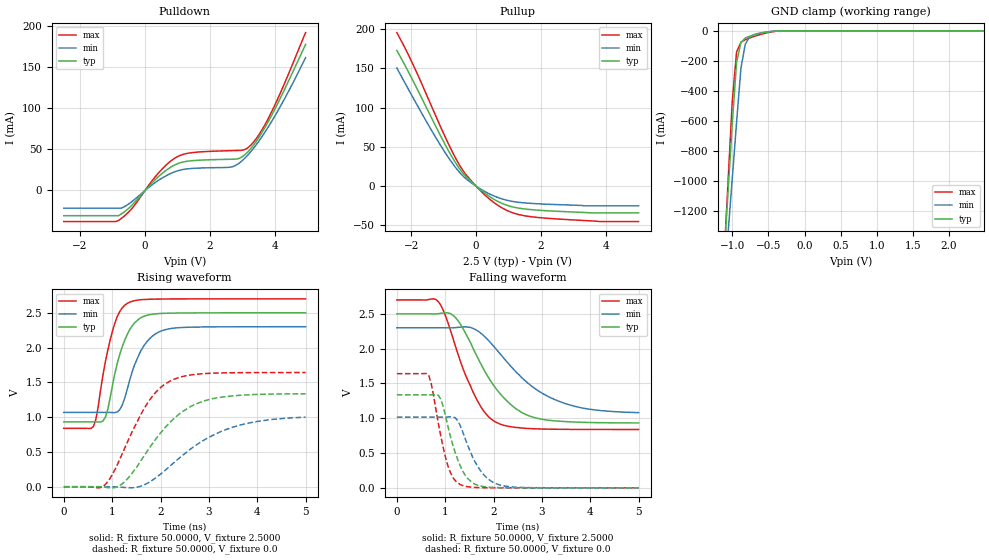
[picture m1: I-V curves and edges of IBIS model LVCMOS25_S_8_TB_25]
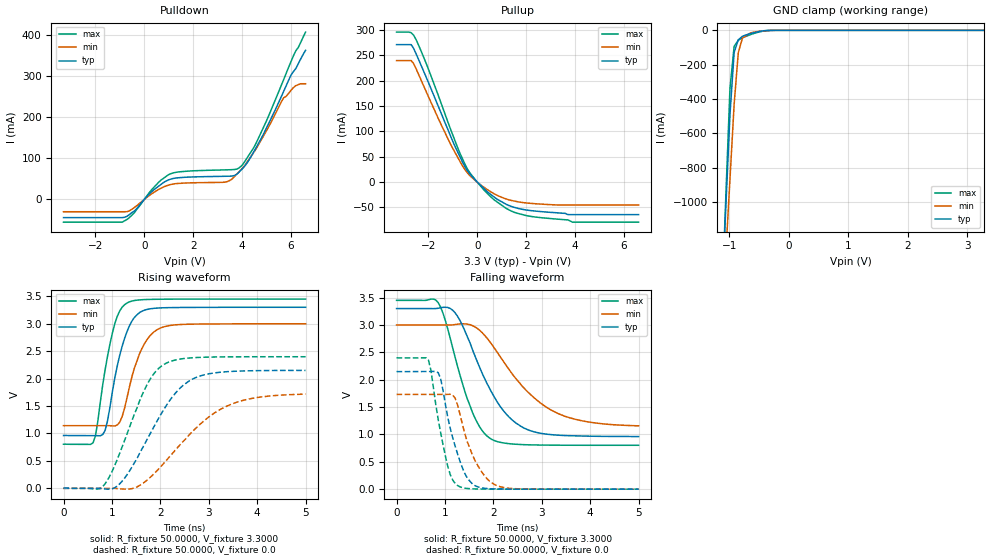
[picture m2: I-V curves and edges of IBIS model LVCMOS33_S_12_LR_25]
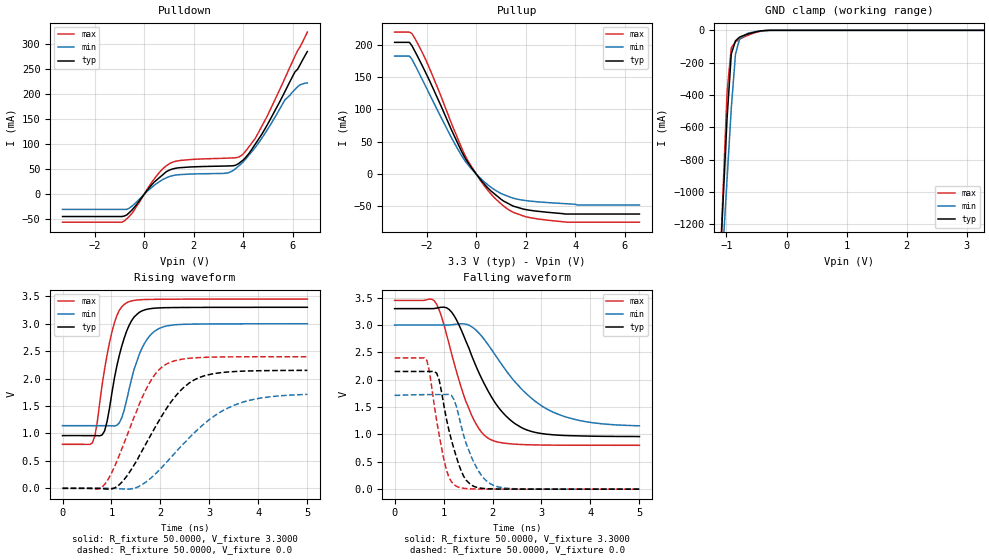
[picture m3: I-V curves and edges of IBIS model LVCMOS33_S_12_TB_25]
| / 7\'7
| \ \   Xilinx Inc.
| / /
| \_\/.\   IBIS Models for SPARTAN-6
[IBIS ver]   4.2
[File name]   runled.ibs
[File Rev]   1.3
[Date]   Tue February 21 22:32:20 2017
[Source]   Derived from spice models, rev0.21, using
   hspice 2007.12
[Notes]   Xilinx IBIS file for SPARTAN-6 I/O standards.
   All models are preliminary.
   The version of IBISCHK used is ibischk4.
   Ibis models were generated using S2IBIS3.
[Disclaimer] The data in this file is derived from SPICE simulations using
                 modeling information extracted from the target process. While
                 a great deal of care has been taken to provide information
                 that is accurate, this model is considered preliminary as it
                 has not been verified by actual silicon measurement. Treat the
                 data in this model as preliminary until actual silicon
                 verification is performed.
[Copyright]   Copyright 2009, 2010, Xilinx Inc., All rights reserved
|   Component SPARTAN-6
[Component]   SPARTAN-6
[Manufacturer]   Xilinx Inc.
[Package]
|WARNING:PostProcessors - IBIS [Package] Section data is not currently
|available for tqg144. Please use XilinxUpdate utility to check
|availability of updated models. Using default package data:
|DEFAULT
|variable   typ   min   max
R_pkg   300.00m   300.00m   300.00m
L_pkg   4.00nH   4.00nH   4.00nH
C_pkg   2.00pF   2.00pF   2.00pF
[Pin]  signal_name   model_name
P98   ledcir<3>   LVCMOS33_S_12_LR_25
P101   ledcir<4>   LVCMOS33_S_12_LR_25
P100   ledcir<5>   LVCMOS33_S_12_LR_25
P1   leds<0>   LVCMOS33_S_12_LR_25
P82   digseg<0>   LVCMOS33_S_12_LR_25
P2   leds<1>   LVCMOS33_S_12_LR_25
P80   digseg<1>   LVCMOS33_S_12_LR_25
P5   leds<2>   LVCMOS33_S_12_LR_25
P66   digseg<2>   LVCMOS33_S_12_TB_25
P6   leds<3>   LVCMOS33_S_12_LR_25
P61   digseg<3>   LVCMOS33_S_12_TB_25
P7   leds<4>   LVCMOS33_S_12_LR_25
P58   digseg<4>   LVCMOS33_S_12_TB_25
P8   leds<5>   LVCMOS33_S_12_LR_25
P56   digseg<5>   LVCMOS33_S_12_TB_25
P9   leds<6>   LVCMOS33_S_12_LR_25
P51   digseg<6>   LVCMOS33_S_12_TB_25
P10   leds<7>   LVCMOS33_S_12_LR_25
P48   digseg<7>   LVCMOS33_S_12_TB_25
P94   encodAsw   LVCMOS33_S_12_LR_25
P84   nreset   LVCMOS33_S_12_LR_25
P93   encodBsw   LVCMOS33_S_12_LR_25
P81   digit<0>   LVCMOS33_S_12_LR_25
P67   digit<1>   LVCMOS33_S_12_TB_25
P62   digit<2>   LVCMOS33_S_12_TB_25
P40   digit<10>   LVCMOS33_S_12_TB_25
P59   digit<3>   LVCMOS33_S_12_TB_25
P34   digit<11>   LVCMOS33_S_12_LR_25
P57   digit<4>   LVCMOS33_S_12_TB_25
P32   digit<12>   LVCMOS33_S_12_LR_25
P55   digit<5>   LVCMOS33_S_12_TB_25
P29   digit<13>   LVCMOS33_S_12_LR_25
P87   encoda<0>   LVCMOS33_S_12_LR_25
P50   digit<6>   LVCMOS33_S_12_TB_25
P26   digit<14>   LVCMOS33_S_12_LR_25
P92   encoda<1>   LVCMOS33_S_12_LR_25
P47   digit<7>   LVCMOS33_S_12_TB_25
P23   digit<15>   LVCMOS33_S_12_LR_25
P45   digit<8>   LVCMOS33_S_12_TB_25
P21   digit<16>   LVCMOS33_S_12_LR_25
P43   digit<9>   LVCMOS33_S_12_TB_25
P16   digit<17>   LVCMOS33_S_12_LR_25
P83   encodb<0>   LVCMOS33_S_12_LR_25
P14   digit<18>   LVCMOS33_S_12_LR_25
P88   encodb<1>   LVCMOS33_S_12_LR_25
P11   digit<19>   LVCMOS33_S_12_LR_25
P97   ledcir<0>   LVCMOS33_S_12_LR_25
P95   ledcir<1>   LVCMOS33_S_12_LR_25
P99   ledcir<2>   LVCMOS33_S_12_LR_25
P85   clk   LVCMOS33_S_12_LR_25
P144   HSWAPEN   LVCMOS25_S_8_TB_25
P143   IO_L1N_VREF_0   NC
P142   IO_L2P_0   NC
P141   IO_L2N_0   NC
P140   IO_L3P_0   NC
P139   IO_L3N_0   NC
P138   IO_L4P_0   NC
P137   IO_L4N_0   NC
P134   GCLK19   NC
P133   GCLK18   NC
P132   GCLK17   NC
P131   GCLK16   NC
P127   GCLK15   NC
P126   GCLK14   NC
P124   GCLK13   NC
P123   GCLK12   NC
P121   IO_L62P_0   NC
P120   IO_L62N_VREF_0   NC
P119   SCP7   LVCMOS25_S_8_TB_25
P118   SCP6   LVCMOS25_S_8_TB_25
P117   SCP5   LVCMOS25_S_8_TB_25
P116   SCP4   LVCMOS25_S_8_TB_25
P115   SCP3   LVCMOS25_S_8_TB_25
P114   SCP2   LVCMOS25_S_8_TB_25
P112   SCP1   LVCMOS25_S_8_TB_25
P111   SCP0   LVCMOS25_S_8_TB_25
P105   IO_L1P_1   NC
P104   IO_L1N_VREF_1   NC
P102   IO_L32P_1   NC
P79   IO_L47P_1   NC
P78   IO_L47N_1   NC
P75   AWAKE   LVCMOS25_S_8_TB_25
P74   DOUT_BUSY   LVCMOS25_S_8_TB_25
P70   CCLK   LVCMOS25_S_8_TB_25
P69   M0_CMPMISO   NC
P65   D0_DIN_MISO_MISO1   LVCMOS25_S_8_TB_25
P64   MOSI_CSI_B_MISO0   LVCMOS25_S_8_TB_25
P60   M1   LVCMOS25_S_8_TB_25
P46   D3   LVCMOS25_S_8_TB_25
P44   D5   LVCMOS25_S_8_TB_25
P41   D8   LVCMOS25_S_8_TB_25
P39   INIT_B   LVCMOS25_S_8_TB_25
P38   CSO_B   LVCMOS25_S_8_TB_25
P35   IO_L1P_3   NC
P33   IO_L2P_3   NC
P30   IO_L36P_3   NC
P27   IO_L37P_3   NC
P24   GCLK27   NC
P22   GCLK25_TRDY2   NC
P17   GCLK23   NC
P15   GCLK21   NC
P12   IO_L49P_3   NC
P109   TCK   LVCMOS25_S_8_TB_25
P110   TDI   LVCMOS25_S_8_TB_25
P107   TMS   LVCMOS25_S_8_TB_25
P106   TDO   LVCMOS25_S_8_TB_25
P73   SUSPEND   LVCMOS25_S_8_TB_25
P72   CMPCS_B_2   NC
P71   DONE_2   LVCMOS25_S_8_TB_25
P37   PROGRAM_B_2   LVCMOS25_S_8_TB_25
P108   GND   GND
P113   GND   GND
P13   GND   GND
P130   GND   GND
P136   GND   GND
P25   GND   GND
P3   GND   GND
P49   GND   GND
P54   GND   GND
P68   GND   GND
P77   GND   GND
P91   GND   GND
P96   GND   GND
P122   VCCO_0   POWER
P125   VCCO_0   POWER
P135   VCCO_0   POWER
P129   VCCAUX   POWER
P20   VCCAUX   POWER
P36   VCCAUX   POWER
P53   VCCAUX   POWER
P90   VCCAUX   POWER
P128   VCCINT   POWER
P19   VCCINT   POWER
P28   VCCINT   POWER
P52   VCCINT   POWER
P89   VCCINT   POWER
P103   VCCO_1   POWER
P76   VCCO_1   POWER
P86   VCCO_1   POWER
P42   VCCO_2   POWER
P63   VCCO_2   POWER
P18   VCCO_3   POWER
P31   VCCO_3   POWER
P4   VCCO_3   POWER
[Diff Pin]   inv_Pin   vdiff   tdelay_typ   tdelay_min   tdelay_max
[Series Pin Mapping] pin_2   model_name   function_table_group
| Models and submodels in the file (3): LVCMOS25_S_8_TB_25 (I/O), LVCMOS33_S_12_LR_25 (I/O), LVCMOS33_S_12_TB_25 (I/O)
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|   Model LVCMOS25_S_8_TB_25
[Model]  LVCMOS25_S_8_TB_25
Model_type I/O
Polarity   Non-Inverting
Enable   Active-Low
Vinl =   0.7000V
Vinh =   1.7000V
Vmeas =  1.2500V
Cref =   0.0F
Rref =   1.0000M
Vref =   0.0V
C_comp   5.71pF   5.63pF   6.21pF
|C_comp   6.33pF   6.15pF   6.69pF
[Temperature Range]   25.0000   85.0000   0.0
[Voltage Range]   2.5000V   2.3000V   2.7000V
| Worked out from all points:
|   slope of the pulldown table from 0 to 0.375 V, typ, clamps not added: 24.2 ohm
|   slope of the pullup table from 0 to 0.375 V, typ, clamps not added: 30.7 ohm
|   GND clamp passes 1 mA (typ) near -0.36 V on its own axis
|   rising waveform, R_fixture 50.0000, V_fixture 2.5000: 20-80 % time 362ps typ, 409ps min, 322ps max; typ from 0.931 V to 2.5 V
|   rising waveform, R_fixture 50.0000, V_fixture 0.0: 20-80 % time 942ps typ, 1.24ns min, 734ps max; typ from 0 V to 1.33 V
|   falling waveform, R_fixture 50.0000, V_fixture 2.5000: 20-80 % time 833ps typ, 1.12ns min, 621ps max; typ from 2.5 V to 0.933 V
|   falling waveform, R_fixture 50.0000, V_fixture 0.0: 20-80 % time 351ps typ, 422ps min, 289ps max; typ from 1.34 V to 0 V
[Pulldown]
|Voltage   I(typ)   I(min)   I(max)
-2.5V     -30.64mA   -21.51mA   -37.78mA
-820mV    -30.64mA   -21.51mA   -36.55mA
-420mV    -18.59mA   -14mA      -22.63mA
460mV     18.52mA    13.55mA    23.33mA
940mV     31.53mA    23.09mA    39.91mA
1.42V     36.13mA    26.73mA    45.87mA
2.7V      38.02mA    29mA       48.49mA
2.94V     39.81mA    34.59mA    48.76mA
3.18V     47.57mA    43.81mA    52.45mA
3.5V      64.29mA    59.86mA    67.49mA
3.9V      91.72mA    84.21mA    95.98mA
4.94V     177.6mA    161.6mA    192mA
[Pullup]
|Voltage   I(typ)   I(min)   I(max)
-2.44V    172.6mA    150.3mA    195.3mA
-1.96V    135.5mA    113.9mA    156.3mA
-1.24V    75.9mA     61.76mA    89.13mA
-840mV    44.34mA    35.65mA    52.72mA
-520mV    22.73mA    18.02mA    27.39mA
-360mV    14.24mA    11.16mA    17.17mA
-40mV     1.494mA    1.131mA    1.826mA
520mV     -16mA      -11.94mA   -19.94mA
1.08V     -25.92mA   -19.07mA   -33.17mA
1.64V     -29.63mA   -21.74mA   -38.56mA
3.8V      -34mA      -25mA      -45mA
5V        -34mA      -25mA      -45mA
[GND_clamp]
|Voltage   I(typ)   I(min)   I(max)
-2.5V     -12.34A    -10.45A    -14.37A
-1.12V    -1.552A    -1.737A    -1.574A
-1.06V    -1.086A    -1.36A     -1.022A
-1V       -620.4mA   -984.2mA   -471mA
-940mV    -209.6mA   -607.7mA   -140.9mA
-880mV    -78.13mA   -250.8mA   -75.95mA
-820mV    -47.69mA   -89.21mA   -58.81mA
-760mV    -36.14mA   -40.83mA   -47.69mA
-700mV    -27.77mA   -25.02mA   -37.69mA
-520mV    -8.687mA   -7.489mA   -13.24mA
-400mV    -1.765mA   -1.693mA   -3.422mA
2.48V     29.1nA     237.4nA    26.83nA
[POWER_clamp]
|Voltage   I(typ)   I(min)   I(max)
-2.49V    0A         0A         0A
-2.46V    0A         0A         0A
-2.43V    0A         0A         0A
0V        0A         0A         0A
[Ramp]
| variable   typ   min   max
dV/dt_r  0.8010/0.9444n   0.5992/1.2397n   0.9846/0.7328n
dV/dt_f  0.9404/0.8324n   0.7314/1.1195n   1.1169/0.6193n
R_load = 50.0000
[Rising Waveform]
R_fixture= 50.0000
V_fixture= 2.5000
V_fixture_min= 2.3000
V_fixture_max= 2.7000
|time   V(typ)   V(min)   V(max)
0s        931.4mV    1.068V     838.4mV
610ps     931.3mV    1.068V     862.4mV
710ps     930.5mV    1.068V     1.145V
860ps     998.4mV    1.068V     1.796V
1.06ns    1.638V     1.065V     2.359V
1.21ns    2.014V     1.175V     2.571V
1.31ns    2.184V     1.395V     2.633V
1.62ns    2.438V     1.984V     2.688V
2.02ns    2.49V      2.239V     2.697V
5ns       2.499V     2.299V     2.699V
[Rising Waveform]
R_fixture= 50.0000
V_fixture= 0.0
|time   V(typ)   V(min)   V(max)
0s        4.876uV    41.92uV    4.581uV
710ps     359.4uV    -14.06uV   -16.1mV
860ps     -8.032mV   -33.9uV    31.75mV
1.21ns    42.43mV    -8.289mV   475.7mV
1.72ns    505.3mV    46.25mV    1.188V
1.97ns    746.1mV    164mV      1.406V
2.22ns    940.8mV    310.7mV    1.525V
2.78ns    1.203V     618.4mV    1.618V
3.48ns    1.304V     852.8mV    1.637V
5ns       1.335V     998.3mV    1.641V
[Falling Waveform]
R_fixture= 50.0000
V_fixture= 2.5000
V_fixture_min= 2.3000
V_fixture_max= 2.7000
|time   V(typ)   V(min)   V(max)
0s        2.5V       2.3V       2.7V
860ps     2.503V     2.3V       2.675V
1.21ns    2.448V     2.302V     2.04V
1.62ns    1.943V     2.277V     1.314V
1.82ns    1.675V     2.172V     1.082V
2.07ns    1.409V     1.981V     936mV
2.58ns    1.084V     1.586V     859.6mV
3.23ns    964.7mV    1.28V      842.4mV
3.94ns    940mV      1.135V     839.2mV
5ns       932.7mV    1.081V     838.5mV
[Falling Waveform]
R_fixture= 50.0000
V_fixture= 0.0
|time   V(typ)   V(min)   V(max)
0s        1.337V     1.017V     1.641V
660ps     1.337V     1.017V     1.613V
710ps     1.337V     1.017V     1.503V
910ps     1.273V     1.017V     741mV
1.06ns    874.2mV    1.018V     308.4mV
1.31ns    317.9mV    895.9mV    48.29mV
1.46ns    138.5mV    618.3mV    16.35mV
1.67ns    38.15mV    310.7mV    4.598mV
2.07ns    4.335mV    55.45mV    1.049mV
5ns       39.64uV    265.7uV    63.68uV
|   Model LVCMOS33_S_12_LR_25
[Model]  LVCMOS33_S_12_LR_25
Model_type I/O
Polarity   Non-Inverting
Enable   Active-Low
Vinl =   0.8000V
Vinh =   2.0000V
Vmeas =  1.6500V
Cref =   0.0F
Rref =   1.0000M
Vref =   0.0V
C_comp   6.08pF   5.79pF   6.38pF
|C_comp  6.55pF   6.18pF   6.90pF
[Temperature Range]   25.0000   85.0000   0.0
[Voltage Range]   3.3000V   3.0000V   3.4500V
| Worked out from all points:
|   slope of the pulldown table from 0 to 0.495 V, typ, clamps not added: 17.6 ohm
|   slope of the pullup table from 0 to 0.495 V, typ, clamps not added: 21.9 ohm
|   GND clamp passes 1 mA (typ) near -0.37 V on its own axis
|   rising waveform, R_fixture 50.0000, V_fixture 3.3000: 20-80 % time 352ps typ, 392ps min, 311ps max; typ from 0.963 V to 3.3 V
|   rising waveform, R_fixture 50.0000, V_fixture 0.0: 20-80 % time 855ps typ, 1.16ns min, 656ps max; typ from 0.005 V to 2.15 V
|   falling waveform, R_fixture 50.0000, V_fixture 3.3000: 20-80 % time 772ps typ, 1.07ns min, 544ps max; typ from 3.3 V to 0.962 V
|   falling waveform, R_fixture 50.0000, V_fixture 0.0: 20-80 % time 367ps typ, 431ps min, 290ps max; typ from 2.15 V to 0 V
[Pulldown]
|Voltage   I(typ)   I(min)   I(max)
-3.3V     -44.1mA    -29.8mA    -55.19mA
-900mV    -44.1mA    -29.8mA    -55.19mA
-400mV    -28.02mA   -19.52mA   -31.94mA
300mV     18.55mA    13.49mA    23.39mA
1V        47.69mA    35mA       60.39mA
3.3V      56.34mA    42.11mA    71.89mA
3.9V      67.81mA    68.54mA    77.64mA
4.6V      128.4mA    125.4mA    139.6mA
5.7V      262.2mA    246.9mA    290.8mA
6V        301.8mA    264.9mA    334.5mA
6.2V      318mA      276.5mA    361mA
6.6V      362.4mA    281.2mA    406.7mA
[Pullup]
|Voltage   I(typ)   I(min)   I(max)
-3.3V     271.2mA    239.8mA    296mA
-2.7V     271.2mA    239.8mA    294.7mA
-2.6V     263.6mA    233.8mA    289.8mA
-2V       197mA      169.1mA    223.4mA
-1.1V     92.03mA    75.56mA    105.6mA
-500mV    30mA       24.41mA    35.09mA
0V        241.4uA    90.5nA     720.3nA
700mV     -29.7mA    -23.18mA   -35.27mA
1.4V      -48.09mA   -36.21mA   -57.21mA
2.2V      -56.26mA   -41.99mA   -67.72mA
3.9V      -64.22mA   -45.24mA   -79.08mA
6.6V      -64.22mA   -45.24mA   -79.08mA
[GND_clamp]
|Voltage   I(typ)   I(min)   I(max)
-3.3V     -18.52A    -15.36A    -21.95A
-1.13V    -1.576A    -1.741A    -1.622A
-1.06V    -1.033A    -1.304A    -972.3mA
-990mV    -491.6mA   -868.4mA   -339.8mA
-920mV    -129.2mA   -432.6mA   -93.44mA
-850mV    -55.09mA   -130.6mA   -57.8mA
-780mV    -34.6mA    -44.44mA   -43.32mA
-640mV    -18.05mA   -14.41mA   -24.46mA
-430mV    -2.792mA   -3.457mA   -4.527mA
-290mV    -120.4uA   -138.5uA   -718.9uA
3.28V     30.42nA    258.3nA    28.48nA
[POWER_clamp]
|Voltage   I(typ)   I(min)   I(max)
-3.28V    0A         0A         0A
-3.24V    0A         0A         0A
-3.2V     0A         0A         0A
0V        0A         0A         0A
[Ramp]
| variable   typ   min   max
dV/dt_r  1.2894/0.8562n   1.0302/1.1633n   1.4388/0.6553n
dV/dt_f  1.4029/0.7711n   1.1058/1.0710n   1.5889/0.5427n
R_load = 50.0000
[Rising Waveform]
R_fixture= 50.0000
V_fixture= 3.3000
V_fixture_min= 3.0000
V_fixture_max= 3.4500
|time   V(typ)   V(min)   V(max)
0s        962.8mV    1.142V     804mV
610ps     960.9mV    1.142V     828.6mV
660ps     961mV      1.142V     954.6mV
860ps     1.056V     1.142V     2.163V
1.06ns    2.013V     1.137V     3V
1.16ns    2.42V      1.204V     3.231V
1.31ns    2.853V     1.642V     3.376V
1.62ns    3.228V     2.549V     3.437V
2.02ns    3.289V     2.928V     3.446V
5ns       3.299V     2.999V     3.449V
[Rising Waveform]
R_fixture= 50.0000
V_fixture= 0.0
|time   V(typ)   V(min)   V(max)
0s        5.112mV    657.3nV    92.02uV
710ps     728.5uV    -9.997uV   -13.92mV
860ps     -10.82mV   -41.61uV   85.08mV
1.21ns    129mV      -11.19mV   752.5mV
1.72ns    880.7mV    146.2mV    1.88V
2.12ns    1.504V     505mV      2.28V
2.63ns    1.975V     1.004V     2.377V
3.33ns    2.123V     1.479V     2.396V
3.99ns    2.144V     1.653V     2.398V
5ns       2.149V     1.717V     2.398V
[Falling Waveform]
R_fixture= 50.0000
V_fixture= 3.3000
V_fixture_min= 3.0000
V_fixture_max= 3.4500
|time   V(typ)   V(min)   V(max)
0s        3.3V       3V         3.45V
860ps     3.306V     3V         3.408V
1.01ns    3.324V     2.999V     3.076V
1.21ns    3.222V     3.008V     2.409V
1.57ns    2.545V     2.987V     1.398V
1.97ns    1.761V     2.641V     908.6mV
2.47ns    1.206V     2.014V     820.5mV
3.18ns    997.6mV    1.452V     804.4mV
3.89ns    969.9mV    1.239V     802.2mV
5ns       961.9mV    1.158V     801.8mV
[Falling Waveform]
R_fixture= 50.0000
V_fixture= 0.0
|time   V(typ)   V(min)   V(max)
0s        2.149V     1.731V     2.399V
660ps     2.15V      1.731V     2.356V
860ps     2.129V     1.731V     1.275V
910ps     2.022V     1.731V     1.037V
1.06ns    1.306V     1.732V     410.3mV
1.21ns    787.1mV    1.663V     105.5mV
1.31ns    512.3mV    1.369V     42.75mV
1.62ns    64.88mV    527.4mV    4.395mV
2.07ns    3.858mV    66.43mV    878.9uV
5ns       96.94uV    256.4uV    96.11uV
|   Model LVCMOS33_S_12_TB_25
[Model]  LVCMOS33_S_12_TB_25
Model_type I/O
Polarity   Non-Inverting
Enable   Active-Low
Vinl =   0.8000V
Vinh =   2.0000V
Vmeas =  1.6500V
Cref =   0.0F
Rref =   1.0000M
Vref =   0.0V
C_comp   5.71pF   5.63pF   6.21pF
|C_comp  6.33pF   6.15pF   6.69pF
[Temperature Range]   25.0000   85.0000   0.0
[Voltage Range]   3.3000V   3.0000V   3.4500V
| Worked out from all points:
|   slope of the pulldown table from 0 to 0.495 V, typ, clamps not added: 17.6 ohm
|   slope of the pullup table from 0 to 0.495 V, typ, clamps not added: 22 ohm
|   GND clamp passes 1 mA (typ) near -0.36 V on its own axis
|   rising waveform, R_fixture 50.0000, V_fixture 3.3000: 20-80 % time 344ps typ, 383ps min, 303ps max; typ from 0.961 V to 3.3 V
|   rising waveform, R_fixture 50.0000, V_fixture 0.0: 20-80 % time 882ps typ, 1.2ns min, 672ps max; typ from 0 V to 2.15 V
|   falling waveform, R_fixture 50.0000, V_fixture 3.3000: 20-80 % time 781ps typ, 1.08ns min, 550ps max; typ from 3.3 V to 0.962 V
|   falling waveform, R_fixture 50.0000, V_fixture 0.0: 20-80 % time 350ps typ, 406ps min, 275ps max; typ from 2.15 V to 0 V
[Pulldown]
|Voltage   I(typ)   I(min)   I(max)
-3.3V     -44.2mA    -29.95mA   -55.45mA
-900mV    -44.2mA    -29.95mA   -55.45mA
-600mV    -36.39mA   -27.52mA   -43.73mA
400mV     24.05mA    17.62mA    30.17mA
1V        47.66mA    35.03mA    60.24mA
1.5V      53.22mA    39.37mA    67.6mA
3.4V      56.47mA    42.96mA    72.07mA
4V        68.03mA    64.17mA    79.9mA
4.5V      100.3mA    93.69mA    111.8mA
5.7V      205.1mA    188.4mA    231.8mA
6.3V      257.4mA    217.8mA    293.1mA
6.6V      284.2mA    221.6mA    322.9mA
[Pullup]
|Voltage   I(typ)   I(min)   I(max)
-3.3V     203.9mA    182.6mA    219.8mA
-2.7V     203.9mA    182.6mA    219.8mA
-2.6V     198.7mA    177.8mA    217.5mA
-2V       153.5mA    132.4mA    173.5mA
-1V       68.3mA     56.21mA    78.24mA
-500mV    28.31mA    23.11mA    32.77mA
300mV     -14.41mA   -11.18mA   -16.8mA
1.1V      -41.66mA   -31.75mA   -49.41mA
2V        -54.98mA   -41.09mA   -66.11mA
2.8V      -58.91mA   -43.94mA   -71.05mA
3.7V      -61.94mA   -46.13mA   -74.56mA
6.6V      -61.94mA   -48mA      -74.56mA
[GND_clamp]
|Voltage   I(typ)   I(min)   I(max)
-3.3V     -18.64A    -15.53A    -21.83A
-1.13V    -1.631A    -1.8A      -1.668A
-1.06V    -1.087A    -1.36A     -1.023A
-990mV    -544.3mA   -921.6mA   -382.9mA
-920mV    -146.9mA   -482.6mA   -108.3mA
-850mV    -64.76mA   -146.8mA   -71.34mA
-780mV    -41.68mA   -51.26mA   -54.55mA
-640mV    -21.93mA   -17.51mA   -30.76mA
-430mV    -3.443mA   -4.246mA   -5.683mA
-290mV    -154.6uA   -176.3uA   -414.5uA
3.28V     34.7nA     269.5nA    30.6nA
[POWER_clamp]
|Voltage   I(typ)   I(min)   I(max)
-3.28V    0A         0A         0A
-3.24V    0A         0A         0A
-3.2V     0A         0A         0A
0V        0A         0A         0A
[Ramp]
| variable   typ   min   max
dV/dt_r  1.2894/0.8816n   1.0272/1.2006n   1.4388/0.6713n
dV/dt_f  1.4026/0.7809n   1.1052/1.0788n   1.5888/0.5493n
R_load = 50.0000
[Rising Waveform]
R_fixture= 50.0000
V_fixture= 3.3000
V_fixture_min= 3.0000
V_fixture_max= 3.4500
|time   V(typ)   V(min)   V(max)
0s        960.9mV    1.142V     801.6mV
610ps     960.8mV    1.142V     826.2mV
710ps     959.5mV    1.142V     1.209V
860ps     1.048V     1.142V     2.178V
1.06ns    2.009V     1.136V     3.018V
1.21ns    2.591V     1.285V     3.309V
1.31ns    2.864V     1.608V     3.381V
1.62ns    3.232V     2.548V     3.438V
2.02ns    3.29V      2.931V     3.446V
5ns       3.299V     2.999V     3.449V
[Rising Waveform]
R_fixture= 50.0000
V_fixture= 0.0
|time   V(typ)   V(min)   V(max)
0s        4.698uV    760.4nV    768.4nV
860ps     -10.06mV   -36.79uV   71.63mV
1.06ns    5.134mV    -485uV     390.6mV
1.31ns    219mV      -15.07mV   945.3mV
1.77ns    918.2mV    161.1mV    1.911V
2.12ns    1.45V      469.7mV    2.263V
2.63ns    1.944V     958.9mV    2.373V
3.38ns    2.12V      1.464V     2.395V
3.99ns    2.143V     1.636V     2.398V
5ns       2.149V     1.712V     2.398V
[Falling Waveform]
R_fixture= 50.0000
V_fixture= 3.3000
V_fixture_min= 3.0000
V_fixture_max= 3.4500
|time   V(typ)   V(min)   V(max)
0s        3.299V     3V         3.45V
810ps     3.301V     3V         3.444V
960ps     3.325V     3V         3.147V
1.21ns    3.178V     3.01V      2.32V
1.57ns    2.45V      2.971V     1.356V
1.92ns    1.777V     2.628V     926.3mV
2.47ns    1.19V      1.948V     821.6mV
3.13ns    1.002V     1.455V     805.5mV
3.89ns    971mV      1.236V     802.6mV
5ns       962.4mV    1.158V     802mV
[Falling Waveform]
R_fixture= 50.0000
V_fixture= 0.0
|time   V(typ)   V(min)   V(max)
0s        2.151V     1.718V     2.399V
660ps     2.151V     1.728V     2.35V
810ps     2.152V     1.729V     1.533V
910ps     1.997V     1.729V     989mV
1.06ns    1.276V     1.732V     347.8mV
1.26ns    593.4mV    1.518V     54.45mV
1.41ns    237mV      983.3mV    16.02mV
1.62ns    50.97mV    488.8mV    4.138mV
2.02ns    4.296mV    70.16mV    932.3uV
5ns       82.49uV    145.8uV    47.9uV
